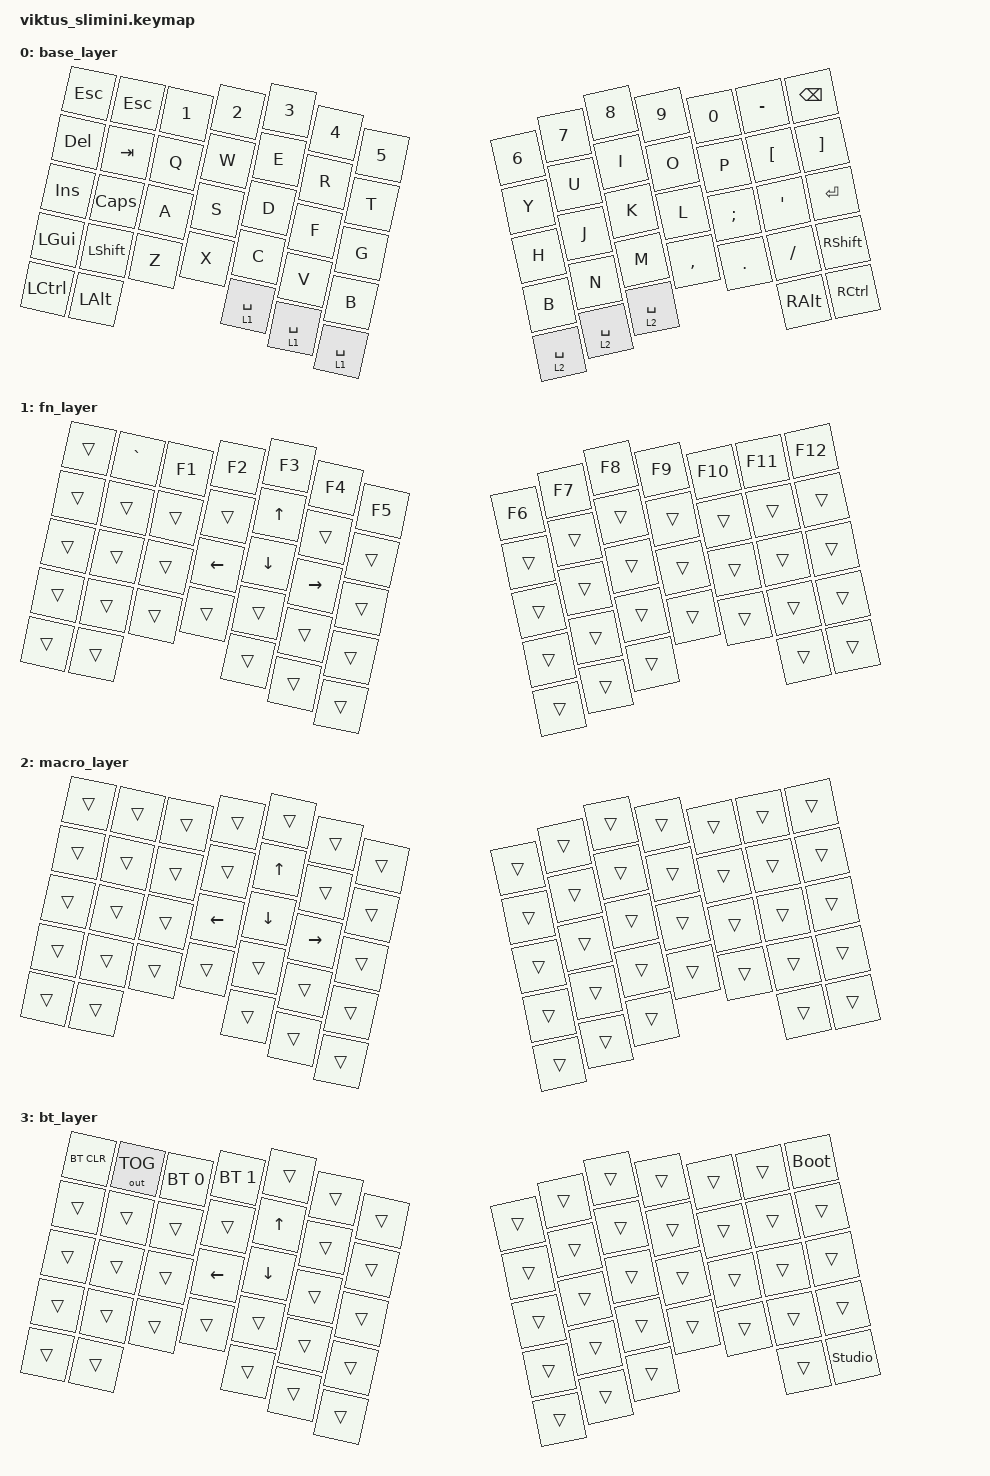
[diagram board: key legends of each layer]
/*
 * Copyright (c) 2024 The ZMK Contributors
 *
 * SPDX-License-Identifier: MIT
 */

#include <behaviors.dtsi>
#include <dt-bindings/zmk/keys.h>
#include <dt-bindings/zmk/bt.h>
#include <dt-bindings/zmk/outputs.h>

&lt {
    tapping-term-ms = <200>;
};

/ {
    keymap {
        compatible = "zmk,keymap";

        base_layer {
            bindings = <
                &kp ESC      &kp ESC   &kp N1 &kp N2 &kp N3      &kp N4      &kp N5         &kp N6      &kp N7      &kp N8      &kp N9    &kp N0   &kp MINUS &kp BSPC
                &kp DELETE   &kp TAB   &kp Q  &kp W  &kp E       &kp R       &kp T          &kp Y       &kp U       &kp I       &kp O     &kp P    &kp LBKT  &kp RBKT
                &kp INSERT   &kp CAPS  &kp A  &kp S  &kp D       &kp F       &kp G          &kp H       &kp J       &kp K       &kp L     &kp SEMI &kp SQT   &kp ENTER
                &kp LEFT_GUI &kp LSHFT &kp Z  &kp X  &kp C       &kp V       &kp B          &kp B       &kp N       &kp M       &kp COMMA &kp DOT  &kp SLASH &kp RSHFT
                &kp LCTRL    &kp LALT                &lt 1 SPACE &lt 1 SPACE &lt 1 SPACE    &lt 2 SPACE &lt 2 SPACE &lt 2 SPACE                    &kp RALT  &kp RCTRL
            >;
        };

        fn_layer {
            bindings = <
                &trans &kp GRAVE &kp F1 &kp F2   &kp F3   &kp F4    &kp F5      &kp F6 &kp F7 &kp F8 &kp F9 &kp F10 &kp F11 &kp F12
                &trans &trans    &trans &trans   &kp UP   &trans    &trans      &trans &trans &trans &trans &trans  &trans  &trans
                &trans &trans    &trans &kp LEFT &kp DOWN &kp RIGHT &trans      &trans &trans &trans &trans &trans  &trans  &trans
                &trans &trans    &trans &trans   &trans   &trans    &trans      &trans &trans &trans &trans &trans  &trans  &trans
                &trans &trans                    &trans   &trans    &trans      &trans &trans &trans                &trans  &trans
            >;
        };

        macro_layer {
            bindings = <
                &trans &trans &trans &trans   &trans   &trans    &trans      &trans &trans &trans &trans &trans &trans &trans
                &trans &trans &trans &trans   &kp UP   &trans    &trans      &trans &trans &trans &trans &trans &trans &trans
                &trans &trans &trans &kp LEFT &kp DOWN &kp RIGHT &trans      &trans &trans &trans &trans &trans &trans &trans
                &trans &trans &trans &trans   &trans   &trans    &trans      &trans &trans &trans &trans &trans &trans &trans
                &trans &trans                 &trans   &trans    &trans      &trans &trans &trans               &trans &trans
            >;
        };

        bt_layer {
            bindings = <
                &bt BT_CLR &out OUT_TOG &bt BT_SEL 0 &bt BT_SEL 1 &trans   &trans &trans      &trans &trans &trans &trans &trans &trans &bootloader
                &trans     &trans       &trans       &trans       &kp UP   &trans &trans      &trans &trans &trans &trans &trans &trans &trans
                &trans     &trans       &trans       &kp LEFT     &kp DOWN &trans &trans      &trans &trans &trans &trans &trans &trans &trans
                &trans     &trans       &trans       &trans       &trans   &trans &trans      &trans &trans &trans &trans &trans &trans &trans
                &trans     &trans                                 &trans   &trans &trans      &trans &trans &trans               &trans &studio_unlock
            >;
        };
    };
};

/ {
    conditional_layers {
        compatible = "zmk,conditional-layers";
        bt_layer_access {
            if-layers = <1 2>;
            then-layer = <3>;
        };
    };
};
